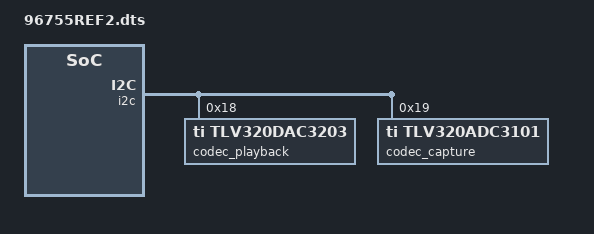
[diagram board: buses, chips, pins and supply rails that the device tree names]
#include "947622.dts"

&i2c {
				#address-cells = <1>;
				#size-cells = <0>;
				codec_playback:codec_palyback@18{
				compatible = "ti,tlv320dac3203";
				reg = <0x18>;
				};
				codec_capture:codec_capture@19{
				compatible = "ti,tlv320adc3101";
				reg = <0x19>;
				};

};
